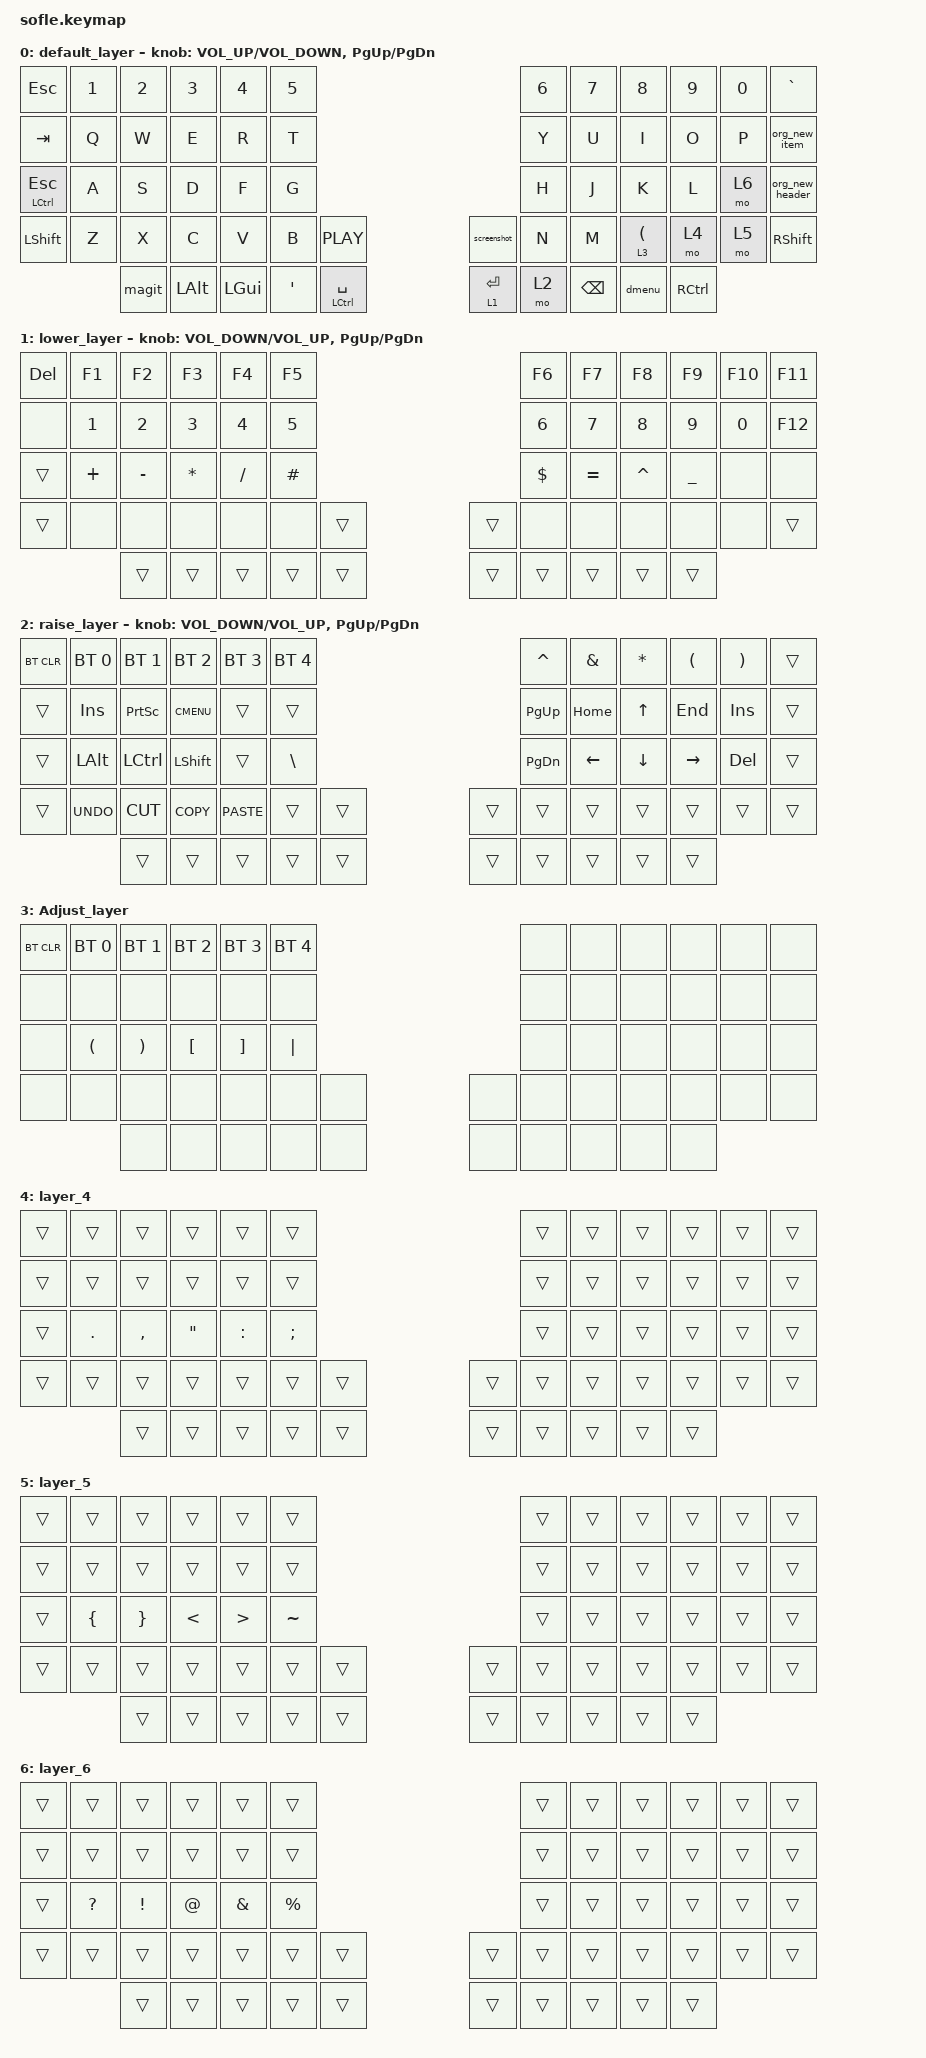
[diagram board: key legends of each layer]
/*
 * Copyright (c) 2020 The ZMK Contributors
 *
 * SPDX-License-Identifier: MIT
 */

#include <behaviors.dtsi>
#include <dt-bindings/zmk/bt.h>
#include <dt-bindings/zmk/keys.h>

#define BASE 0
#define LOWER 1
#define RAISE 2
#define ADJUST 3

/ {
    // Activate ADJUST layer by pressing raise and lower

    conditional_layers { compatible = "zmk,conditional-layers"; };

    macros {
        magit: magit {
            compatible = "zmk,behavior-macro";
            #binding-cells = <0>;
            bindings = <&kp SPACE &kp G &kp G>;
            label = "MAGIT";
        };

        dmenu: dmenu {
            compatible = "zmk,behavior-macro";
            #binding-cells = <0>;
            bindings = <&kp LG(P)>;
            label = "DMENU";
        };

        org_new_item: org_new_item {
            compatible = "zmk,behavior-macro";
            #binding-cells = <0>;
            bindings = <&kp ESC &kp SPACE &kp N &kp I>;
            label = "ORG_NEW_ITEM";
        };

        org_new_header: org_new_header {
            compatible = "zmk,behavior-macro";
            #binding-cells = <0>;
            bindings = <&kp ESC &kp SPACE &kp N &kp H>;
            label = "ORG_NEW_HEADER";
        };

        screenshot: screenshot {
            compatible = "zmk,behavior-macro";
            #binding-cells = <0>;
            bindings = <&kp LS(LG(NUMBER_4))>;
            label = "SCREENSHOT";
        };
    };

    keymap {
        compatible = "zmk,keymap";

        default_layer {
            // ------------------------------------------------------------------------------------------------------------
            // |  ESC  |  1  |  2  |  3   |  4   |  5   |                   |  6   |  7    |  8    |  9   |   0   |   -   |
            // |  TAB  |  Q  |  W  |  E   |  R   |  T   |                   |  Y   |  U    |  I    |  O   |   P   | BKSPC |
            // | SHIFT |  A  |  S  |  D   |  F   |  G   |                   |  H   |  J    |  K    |  L   |   ;   |   '   |
            // | LCTRL |  Z  |  X  |  C   |  V   |  B   |  MUTE  |  |       |  N   |  M    |  ,    |  .   |   /   | SHIFT |
            //               | GUI | CLCK | ALT  | ENTER|  LOWER |  | RAISE | SPACE | CTRL | ALT   | GUI  |

            bindings = <
&kp ESC        &kp N1  &kp N2  &kp N3    &kp N4    &kp N5                                                   &kp N6  &kp N7         &kp N8                  &kp N9     &kp N0  &kp GRAVE
&kp TAB        &kp Q   &kp W   &kp E     &kp R     &kp T                                                    &kp Y   &kp U          &kp I                   &kp O      &kp P   &org_new_item
&mt LCTRL ESC  &kp A   &kp S   &kp D     &kp F     &kp G                                                    &kp H   &kp J          &kp K                   &kp L      &mo 6   &org_new_header
&kp LSHFT      &kp Z   &kp X   &kp C     &kp V     &kp B             &kp C_PLAY                &screenshot  &kp N   &kp M          &lt 3 LEFT_PARENTHESIS  &mo 4      &mo 5   &kp RSHFT
                       &magit  &kp LALT  &kp LGUI  &kp SINGLE_QUOTE  &mt LEFT_CONTROL SPACE    &lt 1 ENTER  &mo 2   &kp BACKSPACE  &dmenu                  &kp RCTRL
            >;

            sensor-bindings =
                <&inc_dec_kp C_VOLUME_UP C_VOLUME_DOWN>,
                <&inc_dec_kp PAGE_UP PAGE_DOWN>;
        };

        lower_layer {
            // TODO: Some binds are waiting for shifted keycode support.
            // ------------------------------------------------------------------------------------------------------------
            // |       |  F1 |  F2 |  F3  |  F4  |  F5  |                   |  F6  |  F7   |  F8   |  F9  |  F10  |   ~   |
            // | `     |   1 |   2 |   3  |   4  |   5  |                   |   6  |   7   |   8   |   9  |    0  |  F12  |
            // |       |  !  |  @  |  #   |  $   |  %   |                   |  ^   |  &    |  *    |  (   |   )   |   |   |
            // |       |  =  |  -  |  +   |  {   |  -   |        |  |       |  [   |  ]    |  ;    |  :   |   \   |       |
            //               |     |      |      |      |        |  |       |      |       |       |      |

            bindings = <
&kp DEL  &kp F1    &kp F2     &kp F3        &kp F4     &kp F5                      &kp F6      &kp F7     &kp F8     &kp F9          &kp F10  &kp F11
&none    &kp N1    &kp N2     &kp N3        &kp N4     &kp N5                      &kp N6      &kp N7     &kp N8     &kp N9          &kp N0   &kp F12
&trans   &kp PLUS  &kp MINUS  &kp ASTERISK  &kp SLASH  &kp HASH                    &kp DOLLAR  &kp EQUAL  &kp CARET  &kp UNDERSCORE  &none    &none
&trans   &none     &none      &none         &none      &none     &trans    &trans  &none       &none      &none      &none           &none    &trans
                   &trans     &trans        &trans     &trans    &trans    &trans  &trans      &trans     &trans     &trans
            >;

            sensor-bindings =
                <&inc_dec_kp C_VOLUME_DOWN C_VOL_UP>,
                <&inc_dec_kp  PG_UP PG_DN>;
        };

        raise_layer {
            // ------------------------------------------------------------------------------------------------------------
            // |BTCLR| BT1  | BT2  |  BT3  |  BT4  |  BT5 |                |      |      |       |      |       |       |
            // |     | INS  | PSCR | GUI   |       |      |                |PG_UP | HOME |  ↑    | END  |       |       |
            // |     | ALT  | CTRL | SHIFT |       | CAPS |                |PG_DN |  <   |   ↓   |  ->  |       |  DEL  |
            // |     | UNDO | CUT  | COPY  | PASTE |      |      |  |      |      | Prev | Play  | Next |       |       |
            //              |      |       |       |      |      |  |      |      |      |       |      |

            bindings = <
&bt BT_CLR  &bt BT_SEL 0  &bt BT_SEL 1  &bt BT_SEL 2  &bt BT_SEL 3  &bt BT_SEL 4                     &kp CARET  &kp AMPS  &kp ASTRK  &kp LPAR   &kp RPAR  &trans
&trans      &kp INS       &kp PSCRN     &kp K_CMENU   &trans        &trans                           &kp PG_UP  &kp HOME  &kp UP     &kp END    &kp INS   &trans
&trans      &kp LALT      &kp LCTRL     &kp LSHFT     &trans        &kp BACKSLASH                    &kp PG_DN  &kp LEFT  &kp DOWN   &kp RIGHT  &kp DEL   &trans
&trans      &kp K_UNDO    &kp K_CUT     &kp K_COPY    &kp K_PASTE   &trans         &trans    &trans  &trans     &trans    &trans     &trans     &trans    &trans
                          &trans        &trans        &trans        &trans         &trans    &trans  &trans     &trans    &trans     &trans
            >;

            sensor-bindings =
                <&inc_dec_kp C_VOLUME_DOWN C_VOL_UP>,
                <&inc_dec_kp  PG_UP PG_DN>;
        };

        // ------------------------------------------------------------------------------------------------------------
        // |BTCLR | BT1   | BT2   |  BT3  |  BT4  |  BT5  |                |      |      |       |      |       |       |
        // |EXTPWR|RGB_HUD|RGB_HUI|RGB_SAD|RGB_SAI|RGB_EFF|                |      |      |       |      |       |       |
        // |      |RGB_BRD|RGB_BRI|       |       |       |                |      |      |       |      |       |       |
        // |      |       |       |       |       |       |RGB_TOG| |      |      |      |       |      |       |       |
        //                |       |       |       |       |       | |      |      |      |       |      |

        Adjust_layer {
            bindings = <
&bt BT_CLR  &bt BT_SEL 0          &bt BT_SEL 1           &bt BT_SEL 2      &bt BT_SEL 3       &bt BT_SEL 4                  &none  &none  &none  &none  &none  &none
&none       &none                 &none                  &none             &none              &none                         &none  &none  &none  &none  &none  &none
&none       &kp LEFT_PARENTHESIS  &kp RIGHT_PARENTHESIS  &kp LEFT_BRACKET  &kp RIGHT_BRACKET  &kp PIPE                      &none  &none  &none  &none  &none  &none
&none       &none                 &none                  &none             &none              &none         &none    &none  &none  &none  &none  &none  &none  &none
                                  &none                  &none             &none              &none         &none    &none  &none  &none  &none  &none
            >;
        };

        layer_4 {
            bindings = <
&trans  &trans      &trans     &trans             &trans     &trans                           &trans  &trans  &trans  &trans  &trans  &trans
&trans  &trans      &trans     &trans             &trans     &trans                           &trans  &trans  &trans  &trans  &trans  &trans
&trans  &kp PERIOD  &kp COMMA  &kp DOUBLE_QUOTES  &kp COLON  &kp SEMICOLON                    &trans  &trans  &trans  &trans  &trans  &trans
&trans  &trans      &trans     &trans             &trans     &trans         &trans    &trans  &trans  &trans  &trans  &trans  &trans  &trans
                    &trans     &trans             &trans     &trans         &trans    &trans  &trans  &trans  &trans  &trans
            >;
        };

        layer_5 {
            bindings = <
&trans  &trans          &trans           &trans         &trans            &trans                       &trans  &trans  &trans  &trans  &trans  &trans
&trans  &trans          &trans           &trans         &trans            &trans                       &trans  &trans  &trans  &trans  &trans  &trans
&trans  &kp LEFT_BRACE  &kp RIGHT_BRACE  &kp LESS_THAN  &kp GREATER_THAN  &kp TILDE                    &trans  &trans  &trans  &trans  &trans  &trans
&trans  &trans          &trans           &trans         &trans            &trans     &trans    &trans  &trans  &trans  &trans  &trans  &trans  &trans
                        &trans           &trans         &trans            &trans     &trans    &trans  &trans  &trans  &trans  &trans
            >;
        };

        layer_6 {
            bindings = <
&trans  &trans        &trans           &trans       &trans         &trans                         &trans  &trans  &trans  &trans  &trans  &trans
&trans  &trans        &trans           &trans       &trans         &trans                         &trans  &trans  &trans  &trans  &trans  &trans
&trans  &kp QUESTION  &kp EXCLAMATION  &kp AT_SIGN  &kp AMPERSAND  &kp PERCENT                    &trans  &trans  &trans  &trans  &trans  &trans
&trans  &trans        &trans           &trans       &trans         &trans       &trans    &trans  &trans  &trans  &trans  &trans  &trans  &trans
                      &trans           &trans       &trans         &trans       &trans    &trans  &trans  &trans  &trans  &trans
            >;
        };
    };
};
